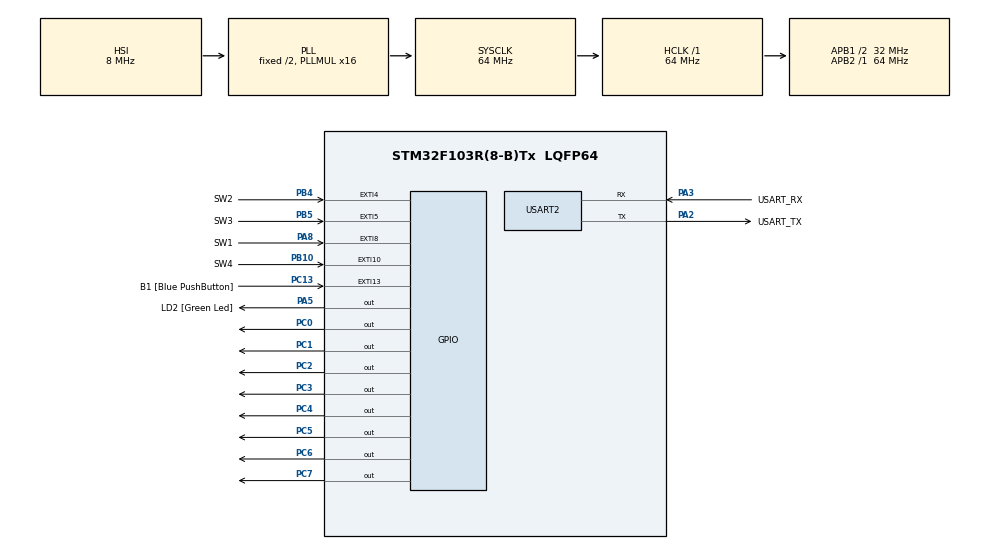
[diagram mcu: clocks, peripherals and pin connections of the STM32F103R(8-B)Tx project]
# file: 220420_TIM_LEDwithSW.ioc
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Mcu.Family=STM32F1
Mcu.Name=STM32F103R(8-B)Tx
Mcu.Package=LQFP64
NVIC.EXTI15_10_IRQn=true\:0\:0\:false\:false\:true\:true\:true\:true
NVIC.EXTI4_IRQn=true\:0\:0\:false\:false\:true\:true\:true\:true
NVIC.EXTI9_5_IRQn=true\:0\:0\:false\:false\:true\:true\:true\:true
NVIC.PriorityGroup=NVIC_PRIORITYGROUP_4
NVIC.TIM2_IRQn=true\:0\:0\:false\:false\:true\:true\:true\:true
PA13.GPIO_Label=TMS
PA13.Mode=Serial_Wire
PA13.Signal=SYS_JTMS-SWDIO
PA14.GPIO_Label=TCK
PA14.Mode=Serial_Wire
PA14.Signal=SYS_JTCK-SWCLK
PA2.GPIO_Label=USART_TX
PA2.GPIO_Mode=GPIO_MODE_AF_PP
PA2.GPIO_PuPd=GPIO_NOPULL
PA2.GPIO_Speed=GPIO_SPEED_FREQ_LOW
PA2.Mode=Asynchronous
PA2.Signal=USART2_TX
PA3.GPIO_Label=USART_RX
PA3.GPIO_Mode=GPIO_MODE_AF_PP
PA3.GPIO_PuPd=GPIO_NOPULL
PA3.GPIO_Speed=GPIO_SPEED_FREQ_LOW
PA3.Mode=Asynchronous
PA3.Signal=USART2_RX
PA5.GPIO_Label=LD2 [Green Led]
PA5.GPIO_ModeDefaultOutputPP=GPIO_MODE_OUTPUT_PP
PA5.GPIO_PuPd=GPIO_NOPULL
PA5.GPIO_Speed=GPIO_SPEED_FREQ_LOW
PA5.Signal=GPIO_Output
PA8.GPIO_Label=SW1
PA8.GPIO_ModeDefaultEXTI=GPIO_MODE_IT_FALLING
PA8.GPIO_PuPd=GPIO_NOPULL
PA8.Signal=GPXTI8
PB10.GPIO_Label=SW4
PB10.GPIO_ModeDefaultEXTI=GPIO_MODE_IT_FALLING
PB10.GPIO_PuPd=GPIO_NOPULL
PB10.Signal=GPXTI10
PB3.GPIO_Label=SWO
PB3.Signal=SYS_JTDO-TRACESWO
PB4.GPIO_Label=SW2
PB4.GPIO_ModeDefaultEXTI=GPIO_MODE_IT_FALLING
PB4.GPIO_PuPd=GPIO_NOPULL
PB4.Signal=GPXTI4
PB5.GPIO_Label=SW3
PB5.GPIO_ModeDefaultEXTI=GPIO_MODE_IT_FALLING
PB5.GPIO_PuPd=GPIO_NOPULL
PB5.Signal=GPXTI5
PC0.Signal=GPIO_Output
PC1.Signal=GPIO_Output
PC13-TAMPER-RTC.GPIO_Label=B1 [Blue PushButton]
PC13-TAMPER-RTC.GPIO_PuPd=GPIO_NOPULL
PC13-TAMPER-RTC.Signal=GPXTI13
PC14-OSC32_IN.Mode=LSE-External-Oscillator
PC14-OSC32_IN.Signal=RCC_OSC32_IN
PC15-OSC32_OUT.Mode=LSE-External-Oscillator
PC15-OSC32_OUT.Signal=RCC_OSC32_OUT
PC2.Signal=GPIO_Output
PC3.Signal=GPIO_Output
PC4.Signal=GPIO_Output
PC5.Signal=GPIO_Output
PC6.Signal=GPIO_Output
PC7.Signal=GPIO_Output
PD0-OSC_IN.Mode=HSE-External-Clock-Source
PD0-OSC_IN.Signal=RCC_OSC_IN
PD1-OSC_OUT.Mode=HSE-External-Clock-Source
PD1-OSC_OUT.Signal=RCC_OSC_OUT
ProjectManager.HeapSize=0x200
ProjectManager.StackSize=0x400
ProjectManager.TargetToolchain=STM32CubeIDE
RCC.AHBFreq_Value=64000000
RCC.APB1CLKDivider=RCC_HCLK_DIV2
RCC.APB1Freq_Value=32000000
RCC.APB1TimFreq_Value=64000000
RCC.APB2Freq_Value=64000000
RCC.APB2TimFreq_Value=64000000
RCC.HCLKFreq_Value=64000000
RCC.PLLMUL=RCC_PLL_MUL16
RCC.RTCClockSelection=RCC_RTCCLKSOURCE_LSE
RCC.SYSCLKFreq_VALUE=64000000
RCC.SYSCLKSource=RCC_SYSCLKSOURCE_PLLCLK
RCC.USBFreq_Value=64000000
TIM2.Channel-Output\ Compare1\ No\ Output=TIM_CHANNEL_1
TIM2.Period=10000-1
TIM2.Prescaler=6400-1
TIM2.Pulse-Output\ Compare1\ No\ Output=10000-1
USART2.VirtualMode=VM_ASYNC
VP_TIM2_VS_ClockSourceINT.Mode=Internal
VP_TIM2_VS_no_output1.Mode=Output Compare1 No Output
board=NUCLEO-F103RB

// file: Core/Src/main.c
/* USER CODE BEGIN Header */
/**
 ******************************************************************************
 * @file           : main.c
 * @brief          : Main program body
 ******************************************************************************
 * @attention
 *
 * Copyright (c) 2022 STMicroelectronics.
 * All rights reserved.
 *
 * This software is licensed under terms that can be found in the LICENSE file
 * in the root directory of this software component.
 * If no LICENSE file comes with this software, it is provided AS-IS.
 *
 ******************************************************************************
 */
/* USER CODE END Header */
#include "main.h"

TIM_HandleTypeDef htim2;

UART_HandleTypeDef huart2;

void SystemClock_Config(void);
static void MX_GPIO_Init(void);
static void MX_USART2_UART_Init(void);
static void MX_TIM2_Init(void);

int main(void) {

	/* MCU Configuration--------------------------------------------------------*/

	/* Reset of all peripherals, Initializes the Flash interface and the Systick. */
	HAL_Init();

	/* Configure the system clock */
	SystemClock_Config();

	/* Initialize all configured peripherals */
	MX_GPIO_Init();
	MX_USART2_UART_Init();
	MX_TIM2_Init();
	/* USER CODE BEGIN 2 */
	if (HAL_TIM_Base_Start_IT(&htim2) != HAL_OK) {
		Error_Handler();
	}
	if (HAL_TIM_OC_Start_IT(&htim2, TIM_CHANNEL_1) != HAL_OK) {
		Error_Handler();
	}

	/* USER CODE END 2 */

	/* Infinite loop */
	while (1) {

	}
}

void SystemClock_Config(void) {
	RCC_OscInitTypeDef RCC_OscInitStruct = { 0 };
	RCC_ClkInitTypeDef RCC_ClkInitStruct = { 0 };

	/** Initializes the RCC Oscillators according to the specified parameters
	 * in the RCC_OscInitTypeDef structure.
	 */
	RCC_OscInitStruct.OscillatorType = RCC_OSCILLATORTYPE_HSI;
	RCC_OscInitStruct.HSIState = RCC_HSI_ON;
	RCC_OscInitStruct.HSICalibrationValue = RCC_HSICALIBRATION_DEFAULT;
	RCC_OscInitStruct.PLL.PLLState = RCC_PLL_ON;
	RCC_OscInitStruct.PLL.PLLSource = RCC_PLLSOURCE_HSI_DIV2;
	RCC_OscInitStruct.PLL.PLLMUL = RCC_PLL_MUL16;
	if (HAL_RCC_OscConfig(&RCC_OscInitStruct) != HAL_OK) {
		Error_Handler();
	}

	/** Initializes the CPU, AHB and APB buses clocks
	 */
	RCC_ClkInitStruct.ClockType = RCC_CLOCKTYPE_HCLK | RCC_CLOCKTYPE_SYSCLK
			| RCC_CLOCKTYPE_PCLK1 | RCC_CLOCKTYPE_PCLK2;
	RCC_ClkInitStruct.SYSCLKSource = RCC_SYSCLKSOURCE_PLLCLK;
	RCC_ClkInitStruct.AHBCLKDivider = RCC_SYSCLK_DIV1;
	RCC_ClkInitStruct.APB1CLKDivider = RCC_HCLK_DIV2;
	RCC_ClkInitStruct.APB2CLKDivider = RCC_HCLK_DIV1;

	if (HAL_RCC_ClockConfig(&RCC_ClkInitStruct, FLASH_LATENCY_2) != HAL_OK) {
		Error_Handler();
	}
}

static void MX_TIM2_Init(void) {

	TIM_ClockConfigTypeDef sClockSourceConfig = { 0 };
	TIM_MasterConfigTypeDef sMasterConfig = { 0 };
	TIM_OC_InitTypeDef sConfigOC = { 0 };

	htim2.Instance = TIM2;
	htim2.Init.Prescaler = 6400 - 1;
	htim2.Init.CounterMode = TIM_COUNTERMODE_UP;
	htim2.Init.Period = 10000 - 1;
	htim2.Init.ClockDivision = TIM_CLOCKDIVISION_DIV1;
	htim2.Init.AutoReloadPreload = TIM_AUTORELOAD_PRELOAD_DISABLE;
	if (HAL_TIM_Base_Init(&htim2) != HAL_OK) {
		Error_Handler();
	}
	sClockSourceConfig.ClockSource = TIM_CLOCKSOURCE_INTERNAL;
	if (HAL_TIM_ConfigClockSource(&htim2, &sClockSourceConfig) != HAL_OK) {
		Error_Handler();
	}
	if (HAL_TIM_OC_Init(&htim2) != HAL_OK) {
		Error_Handler();
	}
	sMasterConfig.MasterOutputTrigger = TIM_TRGO_RESET;
	sMasterConfig.MasterSlaveMode = TIM_MASTERSLAVEMODE_DISABLE;
	if (HAL_TIMEx_MasterConfigSynchronization(&htim2, &sMasterConfig)
			!= HAL_OK) {
		Error_Handler();
	}
	sConfigOC.OCMode = TIM_OCMODE_TIMING;
	sConfigOC.Pulse = 10000 - 1;
	sConfigOC.OCPolarity = TIM_OCPOLARITY_HIGH;
	sConfigOC.OCFastMode = TIM_OCFAST_DISABLE;
	if (HAL_TIM_OC_ConfigChannel(&htim2, &sConfigOC, TIM_CHANNEL_1) != HAL_OK) {
		Error_Handler();
	}

}

static void MX_USART2_UART_Init(void) {

	huart2.Instance = USART2;
	huart2.Init.BaudRate = 115200;
	huart2.Init.WordLength = UART_WORDLENGTH_8B;
	huart2.Init.StopBits = UART_STOPBITS_1;
	huart2.Init.Parity = UART_PARITY_NONE;
	huart2.Init.Mode = UART_MODE_TX_RX;
	huart2.Init.HwFlowCtl = UART_HWCONTROL_NONE;
	huart2.Init.OverSampling = UART_OVERSAMPLING_16;
	if (HAL_UART_Init(&huart2) != HAL_OK) {
		Error_Handler();
	}

}

static void MX_GPIO_Init(void) {
	GPIO_InitTypeDef GPIO_InitStruct = { 0 };

	/* GPIO Ports Clock Enable */
	__HAL_RCC_GPIOC_CLK_ENABLE();
	__HAL_RCC_GPIOD_CLK_ENABLE();
	__HAL_RCC_GPIOA_CLK_ENABLE();
	__HAL_RCC_GPIOB_CLK_ENABLE();

	/*Configure GPIO pin Output Level */
	HAL_GPIO_WritePin(GPIOC,
			GPIO_PIN_0 | GPIO_PIN_1 | GPIO_PIN_2 | GPIO_PIN_3 | GPIO_PIN_4
					| GPIO_PIN_5 | GPIO_PIN_6 | GPIO_PIN_7, GPIO_PIN_RESET);

	/*Configure GPIO pin Output Level */
	HAL_GPIO_WritePin(LD2_GPIO_Port, LD2_Pin, GPIO_PIN_RESET);

	/*Configure GPIO pin : B1_Pin */
	GPIO_InitStruct.Pin = B1_Pin;
	GPIO_InitStruct.Mode = GPIO_MODE_IT_RISING;
	GPIO_InitStruct.Pull = GPIO_NOPULL;
	HAL_GPIO_Init(B1_GPIO_Port, &GPIO_InitStruct);

	/*Configure GPIO pins : PC0 PC1 PC2 PC3
	 PC4 PC5 PC6 PC7 */
	GPIO_InitStruct.Pin = GPIO_PIN_0 | GPIO_PIN_1 | GPIO_PIN_2 | GPIO_PIN_3
			| GPIO_PIN_4 | GPIO_PIN_5 | GPIO_PIN_6 | GPIO_PIN_7;
	GPIO_InitStruct.Mode = GPIO_MODE_OUTPUT_PP;
	GPIO_InitStruct.Pull = GPIO_NOPULL;
	GPIO_InitStruct.Speed = GPIO_SPEED_FREQ_LOW;
	HAL_GPIO_Init(GPIOC, &GPIO_InitStruct);

	/*Configure GPIO pin : LD2_Pin */
	GPIO_InitStruct.Pin = LD2_Pin;
	GPIO_InitStruct.Mode = GPIO_MODE_OUTPUT_PP;
	GPIO_InitStruct.Pull = GPIO_NOPULL;
	GPIO_InitStruct.Speed = GPIO_SPEED_FREQ_LOW;
	HAL_GPIO_Init(LD2_GPIO_Port, &GPIO_InitStruct);

	/*Configure GPIO pins : SW4_Pin SW2_Pin SW3_Pin */
	GPIO_InitStruct.Pin = SW4_Pin | SW2_Pin | SW3_Pin;
	GPIO_InitStruct.Mode = GPIO_MODE_IT_FALLING;
	GPIO_InitStruct.Pull = GPIO_NOPULL;
	HAL_GPIO_Init(GPIOB, &GPIO_InitStruct);

	/*Configure GPIO pin : SW1_Pin */
	GPIO_InitStruct.Pin = SW1_Pin;
	GPIO_InitStruct.Mode = GPIO_MODE_IT_FALLING;
	GPIO_InitStruct.Pull = GPIO_NOPULL;
	HAL_GPIO_Init(SW1_GPIO_Port, &GPIO_InitStruct);

	/* EXTI interrupt init*/
	HAL_NVIC_SetPriority(EXTI4_IRQn, 0, 0);
	HAL_NVIC_EnableIRQ(EXTI4_IRQn);

	HAL_NVIC_SetPriority(EXTI9_5_IRQn, 0, 0);
	HAL_NVIC_EnableIRQ(EXTI9_5_IRQn);

	HAL_NVIC_SetPriority(EXTI15_10_IRQn, 0, 0);
	HAL_NVIC_EnableIRQ(EXTI15_10_IRQn);

}

/* USER CODE BEGIN 4 */

void HAL_GPIO_EXTI_Callback(uint16_t GPIO_Pin) {
	TIM_OC_InitTypeDef newSet = { 0 };
	if (GPIO_Pin == SW1_Pin) {
		newSet.Pulse = 1000 - 1;
	}
	if (GPIO_Pin == SW2_Pin) {
		newSet.Pulse = 3000 - 1;
	}
	if (GPIO_Pin == SW3_Pin) {
		newSet.Pulse = 5000 - 1;
	}
	if (GPIO_Pin == SW4_Pin) {
		newSet.Pulse = 10000 - 1;
	}
	HAL_TIM_OC_ConfigChannel(&htim2, &newSet, TIM_CHANNEL_1);
	//__HAL_TIM_SET_COMPARE(htim2, TIM_CHANNEL_1, newSet.Pulse); same function
	//htim2.Instance->CCR1 = newSet.Pulse;
}
void HAL_TIM_PeriodElapsedCallback(TIM_HandleTypeDef *htim) {
	HAL_GPIO_WritePin(GPIOC, GPIO_PIN_All, GPIO_PIN_SET);
}
void HAL_TIM_OC_DelayElapsedCallback(TIM_HandleTypeDef *htim) {
	HAL_GPIO_WritePin(GPIOC, GPIO_PIN_All, GPIO_PIN_RESET);
}
/* USER CODE END 4 */

void Error_Handler(void) {
	__disable_irq();
	while (1) {
	}
}
